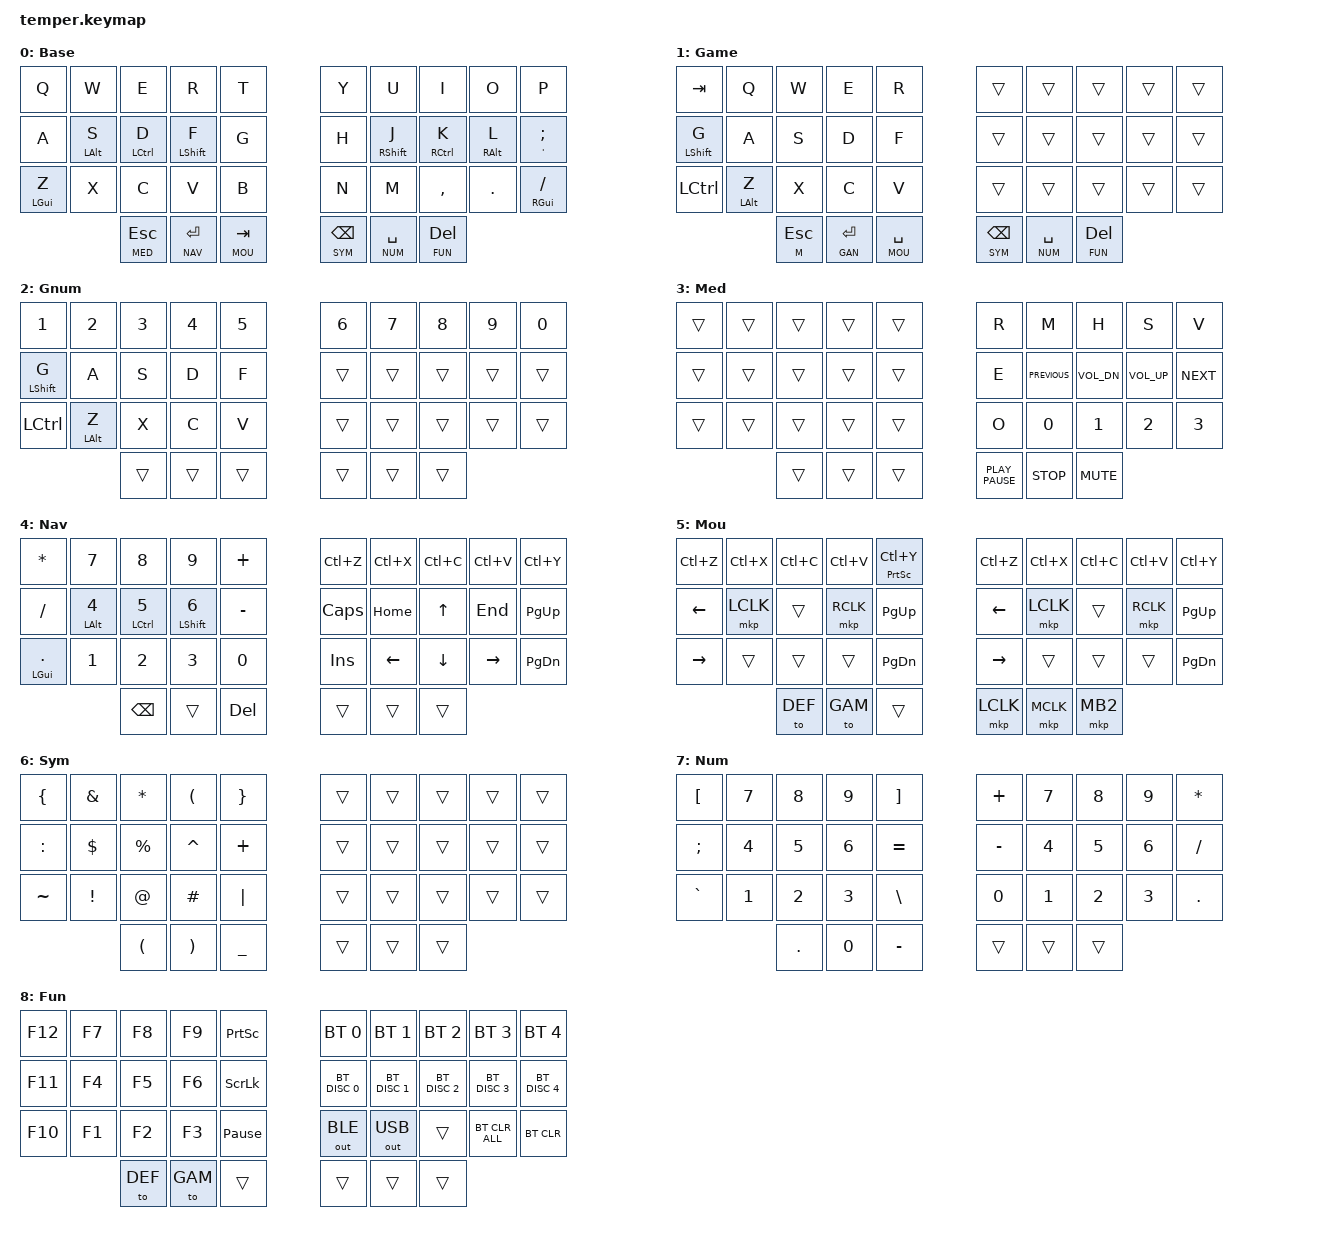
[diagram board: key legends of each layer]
/*
 * Copyright (c) 2020 The ZMK Contributors
 *
 * SPDX-License-Identifier: MIT
 */

#include "zmk-nodefree-config/helper.h"
#include "zmk-nodefree-config/keypos_def/keypos_36keys.h"

#include <behaviors.dtsi>
#include <dt-bindings/zmk/keys.h>
#include <dt-bindings/zmk/bt.h>
#include <behaviors.dtsi>
#include <dt-bindings/zmk/keys.h>
#include <dt-bindings/zmk/mouse.h>
#include <dt-bindings/zmk/outputs.h>


#define KEYS_L LT0 LT1 LT2 LT3 LT4 LM0 LM1 LM2 LM3 LM4 LB0 LB1 LB2 LB3 LB4  /* left hand  */
#define KEYS_R RT0 RT1 RT2 RT3 RT4 RM0 RM1 RM2 RM3 RM4 RB0 RB1 RB2 RB3 RB4  /* right hand */
#define THUMBS LH2 LH1 LH0 RH0 RH1 RH2                                      /* thumbs     */

#define DEF 0
#define GAM 1
#define GAN 2
#define MED 3
#define NAV 4
#define MOU 5
#define SYM 6
#define NUM 7
#define FUN 8


// Combos

#undef COMBO_HOOK
#define COMBO_HOOK
#define COMBO_TERM_FAST 10
#define COMBO_TERM_SLOW 50

// CAPS WORD
// -----------------------------------------------------------------------------------------
// tap      |   Q   |   W   |   E   |   R   |   T   |   |   Y   |   U   |   I   |   O   |   P   |
//          _____________________________________________________________________________________
// tap      |   A   |   S   |   D   |XXXFXXX|   G   |   |   H   |XXXJXXX|   K   |   L   |   ;   |
//          _____________________________________________________________________________________
// tap      |   Z   |   X   |   C   |   V   |   B   |   |   N   |   M   |   ,   |   .   |   /   |
//
// tap                      |  ESC  |  ENT  |  TAB  |   | BSPC  |  SPC  |  DEL  |

&caps_word {
    continue-list = <UNDERSCORE MINUS>;
};

// REFRESH (F5)
// -----------------------------------------------------------------------------------------
// tap      |   Q   |   W   |   E   |   R   |   T   |   |XXXYXXX|XXXUXXX|   I   |   O   |   P   |
//          _____________________________________________________________________________________
// tap      |   A   |   S   |   D   |   F   |   G   |   |   H   |   J   |   K   |   L   |   ;   |
//          _____________________________________________________________________________________
// tap      |   Z   |   X   |   C   |   V   |   B   |   |   N   |   M   |   ,   |   .   |   /   |
//
// tap                      |  ESC  |  ENT  |  TAB  |   | BSPC  |  SPC  |  DEL  |
ZMK_COMBO(refr, &kp F5, RT0 RT1, DEF, COMBO_TERM_FAST)        

// PASTE
// -----------------------------------------------------------------------------------------
// tap      |   Q   |   W   |   E   |   R   |   T   |   |   Y   |   U   |   I   |   O   |   P   |
//          _____________________________________________________________________________________
// tap      |   A   |   S   |   D   |   F   |   G   |   |   H   |   J   |   K   |   L   |   ;   |
//          _____________________________________________________________________________________
// tap      |   Z   |   X   |   C   |XXXVXXX|XXXBXXX|   |   N   |   M   |   ,   |   .   |   /   |
//
// tap                      |  ESC  |  ENT  |  TAB  |   | BSPC  |  SPC  |  DEL  |
ZMK_COMBO(paste, &kp LC(V), LB0 LB1, DEF, COMBO_TERM_SLOW)

// COPY
// -----------------------------------------------------------------------------------------
// tap      |   Q   |   W   |   E   |   R   |   T   |   |   Y   |   U   |   I   |   O   |   P   |
//          _____________________________________________________________________________________
// tap      |   A   |   S   |   D   |   F   |   G   |   |   H   |   J   |   K   |   L   |   ;   |
//          _____________________________________________________________________________________
// tap      |   Z   |   X   |XXXCXXX|XXXVXXX|   B   |   |   N   |   M   |   ,   |   .   |   /   |
//
// tap                      |  ESC  |  ENT  |  TAB  |   | BSPC  |  SPC  |  DEL  |
ZMK_COMBO(copy, &kp LC(C), LB1 LB2, DEF, COMBO_TERM_SLOW)

// CUT
// -----------------------------------------------------------------------------------------
// tap      |   Q   |   W   |   E   |   R   |   T   |   |   Y   |   U   |   I   |   O   |   P   |
//          _____________________________________________________________________________________
// tap      |   A   |   S   |   D   |   F   |   G   |   |   H   |   J   |   K   |   L   |   ;   |
//          _____________________________________________________________________________________
// tap      |   Z   |XXXXXXX|XXXCXXX|   V   |   B   |   |   N   |   M   |   ,   |   .   |   /   |
//
// tap                      |  ESC  |  ENT  |  TAB  |   | BSPC  |  SPC  |  DEL  |
ZMK_COMBO(cut, &kp LC(X), LB2 LB3, DEF, COMBO_TERM_SLOW)

// SELECT ALL
// -----------------------------------------------------------------------------------------
// tap      |   Q   |   W   |   E   |   R   |   T   |   |   Y   |   U   |   I   |   O   |   P   |
//          _____________________________________________________________________________________
// tap      |XXXAXXX|XXXSXXX|   D   |   F   |   G   |   |   H   |   J   |   K   |   L   |   ;   |
//          _____________________________________________________________________________________
// tap      |   Z   |   X   |   C   |   V   |   B   |   |   N   |   M   |   ,   |   .   |   /   |
//
// tap                      |  ESC  |  ENT  |  TAB  |   | BSPC  |  SPC  |  DEL  |
ZMK_COMBO(sall, &kp LC(A), LM4 LM3, DEF, COMBO_TERM_FAST)

// UNDO
// -----------------------------------------------------------------------------------------
// tap      |   Q   |XXXWXXX|XXXEXXX|   R   |   T   |   |   Y   |   U   |   I   |   O   |   P   |
//          _____________________________________________________________________________________
// tap      |   A   |   S   |   D   |   F   |   G   |   |   H   |   J   |   K   |   L   |   ;   |
//          _____________________________________________________________________________________
// tap      |   Z   |   X   |   C   |   V   |   B   |   |   N   |   M   |   ,   |   .   |   /   |
//
// tap                      |  ESC  |  ENT  |  TAB  |   | BSPC  |  SPC  |  DEL  |
ZMK_COMBO(undo, &kp LC(Z), LT2 LT3, DEF, COMBO_TERM_SLOW)

// REDO
// -----------------------------------------------------------------------------------------
// tap      |   Q   |   W   |XXXEXXX|XXXRXXX|   T   |   |   Y   |   U   |   I   |   O   |   P   |
//          _____________________________________________________________________________________
// tap      |   A   |   S   |   D   |   F   |   G   |   |   H   |   J   |   K   |   L   |   ;   |
//          _____________________________________________________________________________________
// tap      |   Z   |   X   |   C   |   V   |   B   |   |   N   |   M   |   ,   |   .   |   /   |
//
// tap                      |  ESC  |  ENT  |  TAB  |   | BSPC  |  SPC  |  DEL  |
ZMK_COMBO(redo, &kp LC(Y), LT1 LT2, DEF, COMBO_TERM_SLOW)

// APOSTROPHE
// -----------------------------------------------------------------------------------------
// tap      |   Q   |   W   |   E   |   R   |   T   |   |   Y   |   U   |   I   |   O   |   P   |
//          ___________________________________________________________________
// tap      |   A   |   S   |   D   |   F   |   G   |   |   H   |   J   |   K   |XXXLXXX|XXX;XXX|
//          ___________________________________________________________________
// tap      |   Z   |   X   |   C   |   V   |   B   |   |   N   |   M   |   ,   |   .   |   /   |
//
// tap                      |  ESC  |  ENT  |  TAB  |   | BSPC  |  SPC  |  DEL  |
ZMK_COMBO(apos, &kp APOS, RM3 RM4, DEF, COMBO_TERM_SLOW)

// CAPS WORD
// -----------------------------------------------------------------------------------------
// tap      |   Q   |   W   |   E   |   R   |   T   |   |   Y   |   U   |   I   |   O   |   P   |
//          _____________________________________________________________________________________
// tap      |   A   |   S   |   D   |XXXFXXX|   G   |   |   H   |XXXJXXX|   K   |   L   |   ;   |
//          _____________________________________________________________________________________
// tap      |   Z   |   X   |   C   |   V   |   B   |   |   N   |   M   |   ,   |   .   |   /   |
//
// tap                      |  ESC  |  ENT  |  TAB  |   | BSPC  |  SPC  |  DEL  |
ZMK_COMBO(caps, &caps_word, LM1 RM1, DEF, COMBO_TERM_SLOW)


&mt{
        flavor = "balanced";
        tapping-term-ms = <250>;
        quick-tap-ms = <200>;
        require-prior-idle-ms = <150>;
};

&lt{
        quick-tap-ms = <250>;
};

/ {

        keymap {
                compatible = "zmk,keymap";

                default_layer {
                        display-name = "Base";
// -----------------------------------------------------------------------------------------
// tap      |   Q   |   W   |   E   |   R   |   T   |   |   Y   |   U   |   I   |   O   |   P   |
// hold     |       |       |       |       |       |   |       |       |       |       |       |
//          _____________________________________________________________________________________
// tap      |   A   |   S   |   D   |   F   |   G   |   |   H   |   J   |   K   |   L   |   ;   |
// hold     |       |  ALT  | CTRL  | SHFT  |       |   |       | SHFT  | CTRL  |  ALT  |       |
//          _____________________________________________________________________________________
// tap      |   Z   |   X   |   C   |   V   |   B   |   |   N   |   M   |   ,   |   .   |   /   |
// hold     |  GUI  |       |       |       |       |   |       |       |       |       |  GUI  |
//
// tap                      |  ESC  |  ENT  |  TAB  |   | BSPC  |  SPC  |  DEL  |
// hold  LAYER              | (GUI) | (NAV) | (MOU) |   | (SYM) | (NUM) | (FUN) |

                        bindings = <
&kp Q           &kp W           &kp E           &kp R             &kp T            &kp Y              &kp U              &kp I           &kp O            &kp P                    
&kp A           &mt LEFT_ALT S  &mt LCTRL D     &mt LEFT_SHIFT F  &kp G            &kp H              &mt RSHIFT J       &mt RCTRL K     &mt RIGHT_ALT L  &mt APOS SEMICOLON
&mt LEFT_GUI Z  &kp X           &kp C           &kp V             &kp B            &kp N              &kp M              &kp COMMA       &kp DOT          &mt RIGHT_GUI FSLH
                                &lt MED ESCAPE  &lt NAV ENTER     &lt MOU TAB      &lt SYM BACKSPACE  &lt NUM SPACE      &lt FUN DELETE
                        >;
                };

                gam_layer {
                        display-name = "Game";
// -----------------------------------------------------------------------------------------
// tap      |  TAB  |   Q   |   W   |   E   |   R   |   |   Y   |   U   |   I   |   O   |   P   |
// hold     |       |       |       |       |       |   |       |       |       |       |       |
//          _____________________________________________________________________________________
// tap      |   G   |   A   |   S   |   D   |   F   |   |   H   |   J   |   K   |   L   |   ;   |
// hold     | SHFT  |       |       |       |       |   |       | SHFT  | CTRL  |  ALT  |       |
//          _____________________________________________________________________________________
// tap      | CTRL  |   Z   |   X   |   C   |   V   |   |   N   |   M   |   ,   |   .   |   /   |
// hold     |       |  ALT  |       |       |       |   |       |       |       |       |  GUI  |
//
// tap                      |  ESC  |  ENT  |  SPC  |   | BSPC  |  SPC  |  DEL  |
// hold  LAYER              |   M   | (GAN) | (MOU) |   | (SYM) | (NUM) | (FUN) |

                        bindings = <
   &kp TAB       &kp Q           &kp W          &kp E          &kp R            &trans             &trans         &trans  &trans  &trans                   
   &mt LSHIFT G  &kp A           &kp S          &kp D          &kp F            &trans             &trans         &trans  &trans  &trans
   &kp LCTRL     &mt LEFT_ALT Z  &kp X          &kp C          &kp V            &trans             &trans         &trans  &trans  &trans
                                 &mt M ESCAPE   &lt GAN ENTER  &lt MOU SPACE    &lt SYM BACKSPACE  &lt NUM SPACE  &lt FUN DELETE
                        >;
                };
                gan_layer {
                        display-name = "Gnum";
// -----------------------------------------------------------------------------------------
// tap      |   1   |   2   |   3   |   4   |   5   |   |   6   |   7   |   8   |   9   |   0   |
// hold     |       |       |       |       |       |   |       |       |       |       |       |
//          _____________________________________________________________________________________
// tap      |   G   |   A   |   S   |   D   |   F   |   |   H   |   J   |   K   |   L   |   ;   |
// hold     | SHFT  |       |       |       |       |   |       | SHFT  | CTRL  |  ALT  |       |
//          _____________________________________________________________________________________
// tap      | CTRL  |   Z   |   X   |   C   |   V   |   |   N   |   M   |   ,   |   .   |   /   |
// hold     |       |  ALT  |       |       |       |   |       |       |       |       |  GUI  |
//
// tap                      |   M   |XXXXXXX|  SPC  |   | BSPC  |  SPC  |  DEL  |
// hold  LAYER              |  ESC  |XXXXXXX| (MOU) |   | (SYM) | (NUM) | (FUN) |

                        bindings = <
   &kp N1        &kp N2          &kp N3  &kp N4  &kp N5           &kp N6  &kp N7  &kp N8  &kp N9  &kp N0
   &mt LSHIFT G  &kp A           &kp S   &kp D   &kp F            &trans  &trans  &trans  &trans  &trans
   &kp LCTRL     &mt LEFT_ALT Z  &kp X   &kp C   &kp V            &trans  &trans  &trans  &trans  &trans
                                 &trans  &trans  &trans           &trans  &trans  &trans
                        >;
                };

                med_layer {
                        display-name = "Med";
// -----------------------------------------------------------------------------------------
// tap      |   Q   |   W   |   E   |   R   |   T   |   |   R   |   M   |   H   |   S   |   V   |
// hold     |       |       |       |       |       |   |       |       |       |       |       |
//          _____________________________________________________________________________________
// tap      |   A   |   S   |   D   |   F   |   G   |   |   E   | PREV  | VOLD  | VOLU  | NEXT  |
// hold     |       |  ALT  | CTRL  | SHFT  |       |   |       |       |       |       |       |
//          _____________________________________________________________________________________
// tap      |   Z   |   X   |   C   |   V   |   B   |   |   O   |   0   |   1   |   2   |   3   |
// hold     |  GUI  |       |       |       |       |   |       |       |       |       |  GUI  |
//
// tap                      |XXXXXXX|  ENT  |  TAB  |   | PLAY  | STOP  | MUTE  |
// hold  LAYER              |XXXXXXX| (NAV) | (MOU) |   |       |       |       |

                        bindings = <
&trans  &trans  &trans  &trans  &trans         &kp R             &kp M           &kp H         &kp S            &kp V        
&trans  &trans  &trans  &trans  &trans         &kp E             &kp C_PREVIOUS  &kp C_VOL_DN  &kp C_VOLUME_UP  &kp K_NEXT   
&trans  &trans  &trans  &trans  &trans         &kp O             &kp N0          &kp N1        &kp N2           &kp N3
                &trans  &trans  &trans         &kp K_PLAY_PAUSE  &kp K_STOP      &kp K_MUTE
                        >;
                };

                nav_layer {
                        display-name = "Nav";
// -----------------------------------------------------------------------------------------
// tap      |   *   |   7   |   8   |   9   |   +   |   | UNDO  |  CUT  | COPY  | PASTE | REDO  |
// hold     |       |       |       |       |       |   |       |       |       |       |       |
//          _____________________________________________________________________________________
// tap      |   /   |   4   |   5   |   6   |   -   |   | CAPS  | HOME  |  UP   |  END  | PGUP  |
// hold     |       |  ALT  | CTRL  | SHFT  |       |   |       |       |       |       |       |
//          _____________________________________________________________________________________
// tap      |   .   |   1   |   2   |   3   |   0   |   |  INS  | LEFT  | DOWN  | RGHT  | PGDN  |
// hold     |  GUI  |       |       |       |       |   |       |       |       |       |       |
//
// tap                      | BSPC  |XXXXXXX|  DEL  |   | BSPC  |  SPC  |  DEL  |
// hold  LAYER              |       |XXXXXXX|       |   | (SYM) | (NUM) | (FUN) |

                        bindings = < 
&kp STAR    &kp N7           &kp N8         &kp N9             &kp PLUS        &kp LC(Z)     &kp LC(X)  &kp LC(C)     &kp LC(V)    &kp LC(Y)    
&kp SLASH   &mt LEFT_ALT N4  &mt LCTRL N5   &mt LEFT_SHIFT N6  &kp MINUS       &kp CAPSLOCK  &kp HOME   &kp UP_ARROW  &kp END      &kp PAGE_UP   
&mt LEFT_GUI PERIOD  &kp N1  &kp N2         &kp N3             &kp N0          &kp INSERT    &kp LEFT   &kp DOWN      &kp RIGHT    &kp PAGE_DOWN
                             &kp BACKSPACE  &trans             &kp DEL         &trans        &trans     &trans
                        >;
                };

                mou_layer {
                        display-name = "Mou";
// -----------------------------------------------------------------------------------------
// tap      | UNDO  |  CUT  | COPY  | PASTE | REDO  |   | UNDO  |  CUT  | COPY  | PASTE | REDO  |
// hold     |       |       |       |       | PRTSC |   |       |       |       |       |       |
//          _____________________________________________________________________________________
// tap      | LEFT  | LCLK  |       | RCLK  | PGUP  |   | LEFT  | LCLK  |       | RCLK  | PGUP  |
// hold     |       |       |       |       |       |   |       |       |       |       |       |
//          _____________________________________________________________________________________
// tap      | RGHT  |       |       |       | PGDN  |   | RGHT  |       |       |       | PGDN  |
// hold     |       |       |       |       |       |   |       |       |       |       |       |
//
// tap                      |  ESC  |  ENT  |XXXXXXX|   | LCLK  | MCLK  | RCLK  |
// hold  LAYER              | [DEF] | [GAM] |XXXXXXX|   |       |       |       |

                        bindings = <
&kp LC(Z)  &kp LC(X)  &kp LC(C)  &kp LC(V)  &mt PRINTSCREEN LC(Y)     &kp LC(Z)  &kp LC(X)  &kp LC(C)  &kp LC(V)  &kp LC(Y)  
&kp LEFT   &mkp LCLK  &trans     &mkp RCLK  &kp PAGE_UP               &kp LEFT   &mkp LCLK  &trans     &mkp RCLK  &kp PAGE_UP      
&kp RIGHT  &trans     &trans     &trans     &kp PAGE_DOWN             &kp RIGHT  &trans     &trans     &trans     &kp PAGE_DOWN   
                      &to DEF    &to GAM    &trans                    &mkp LCLK  &mkp MCLK  &mkp MB2
                        >;
                };
                sym_layer {
                        display-name = "Sym";
// -----------------------------------------------------------------------------------------
// tap      |   {   |   &   |   *   |   (   |   }   |   | UNDO  |  CUT  | COPY  | PASTE | REDO  |
// hold     |       |       |       |       |       |   |       |       |       |       |       |
//          _____________________________________________________________________________________
// tap      |   :   |   $   |   %   |   ^   |   +   |   | LEFT  | LCLK  |       | RCLK  | PGUP  |
// hold     |       |       |       |       |       |   |       |       |       |       |       |
//          _____________________________________________________________________________________
// tap      |   ~   |   !   |   @   |   #   |   |   |   | RGHT  |       |       |       | PGDN  |
// hold     |       |       |       |       |       |   |       |       |       |       |       |
//
// tap                      |   (   |   )   |   _   |   |XXXXXXX|  SPC  |  DEL  |
// hold  LAYER              |       |       |       |   |XXXXXXX| (NUM) | (FUN) |

                        bindings = <
&kp LEFT_BRACE  &kp AMPS  &kp STAR              &kp LEFT_PARENTHESIS   &kp RIGHT_BRACE    &trans  &trans  &trans  &trans  &trans 
&kp COLON       &kp DLLR  &kp PERCENT           &kp CARET              &kp PLUS           &trans  &trans  &trans  &trans  &trans 
&kp TILDE       &kp EXCL  &kp AT                &kp HASH               &kp PIPE           &trans  &trans  &trans  &trans  &trans 
                          &kp LEFT_PARENTHESIS  &kp RIGHT_PARENTHESIS  &kp UNDER          &trans  &trans  &trans
                        >;
                };

                num_layer {
                        display-name = "Num";
// -----------------------------------------------------------------------------------------
// tap      |   [   |   7   |   8   |   9   |   ]   |   |   +   |   7   |   8   |   9   |   *   |
// hold     |       |       |       |       |       |   |       |       |       |       |       |
//          _____________________________________________________________________________________
// tap      |   ;   |   4   |   5   |   6   |   =   |   |   -   |   4   |   5   |   6   |   /   |
// hold     |       |       |       |       |       |   |       |       |       |       |       |
//          _____________________________________________________________________________________
// tap      |   `   |   1   |   2   |   3   |   \   |   |   0   |   1   |   2   |   3   |   /   |
// hold     |       |       |       |       |       |   |       |       |       |       |       |
//
// tap                      |   .   |   0   |   -   |   | BSPC  |XXXXXXX|  DEL  |
// hold  LAYER              |       |       |       |   | (SYM) |XXXXXXX| (FUN) |

                        bindings = <
&kp LEFT_BRACKET  &kp N7  &kp N8      &kp N9  &kp RIGHT_BRACKET    &kp PLUS   &kp N7  &kp N8  &kp N9  &kp STAR      
&kp SEMICOLON     &kp N4  &kp N5      &kp N6  &kp EQUAL            &kp MINUS  &kp N4  &kp N5  &kp N6  &kp SLASH 
&kp GRAVE         &kp N1  &kp N2      &kp N3  &kp BACKSLASH        &kp N0     &kp N1  &kp N2  &kp N3  &kp PERIOD      
                          &kp PERIOD  &kp N0  &kp MINUS            &trans     &trans  &trans
                        >;
                };

                fun_layer {
                        display-name = "Fun";
// -----------------------------------------------------------------------------------------
// tap      |  F12  |  F7   |  F8   |  F9   | PSCR  |   |  BT0  |  BT1  |  BT2  |  BT3  |  BT4  |
// hold     |       |       |       |       |       |   |       |       |       |       |       |
//          _____________________________________________________________________________________
// tap      |  F11  |  F4   |  F5   |  F6   | SCRLK |   | DCN0  | DCN1  | DCN2  | DCN3  | DCN4  |
// hold     |       |       |       |       |       |   |       |       |       |       |       |
//          _____________________________________________________________________________________
// tap      |  F10  |  F1   |  F2   |  F3   | PAUSE |   |  BLE  |  USB  |   ,   | BTCLA | BTCLR |
// hold     |       |       |       |       |       |   |       |       |       |       |       |
//
// tap                      | [DEF] | [GAM] |  TAB  |   | BSPC  |  SPC  |XXXXXXX|
// hold  LAYER              |       |       | (MOU) |   | (SYM) | (NUM) |XXXXXXX|

                        bindings = <
&kp F12  &kp F7  &kp F8    &kp F9    &kp PRINTSCREEN    &bt BT_SEL 0   &bt BT_SEL 1   &bt BT_SEL 2   &bt BT_SEL 3    &bt BT_SEL 4   
&kp F11  &kp F4  &kp F5    &kp F6    &kp SCROLLLOCK     &bt BT_DISC 0  &bt BT_DISC 1  &bt BT_DISC 2  &bt BT_DISC 3   &bt BT_DISC 4  
&kp F10  &kp F1  &kp F2    &kp F3    &kp PAUSE_BREAK    &out OUT_BLE   &out OUT_USB   &trans         &bt BT_CLR_ALL  &bt BT_CLR     
                 &to DEF   &to GAM   &trans             &trans         &trans         &trans
                        >;
                };

        };
};    

